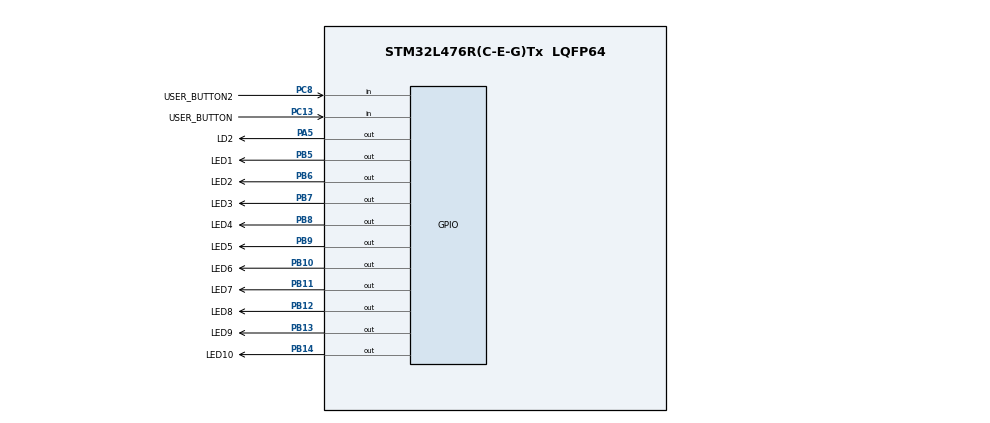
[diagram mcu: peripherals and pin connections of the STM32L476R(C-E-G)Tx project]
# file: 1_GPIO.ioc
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Mcu.Family=STM32L4
Mcu.Name=STM32L476R(C-E-G)Tx
Mcu.Package=LQFP64
NVIC.PriorityGroup=NVIC_PRIORITYGROUP_4
PA5.GPIO_Label=LD2
PA5.Signal=GPIO_Output
PB10.GPIO_Label=LED6
PB10.Signal=GPIO_Output
PB11.GPIO_Label=LED7
PB11.Signal=GPIO_Output
PB12.GPIO_Label=LED8
PB12.Signal=GPIO_Output
PB13.GPIO_Label=LED9
PB13.Signal=GPIO_Output
PB14.GPIO_Label=LED10
PB14.Signal=GPIO_Output
PB5.GPIO_Label=LED1
PB5.Signal=GPIO_Output
PB6.GPIO_Label=LED2
PB6.Signal=GPIO_Output
PB7.GPIO_Label=LED3
PB7.Signal=GPIO_Output
PB8.GPIO_Label=LED4
PB8.Signal=GPIO_Output
PB9.GPIO_Label=LED5
PB9.Signal=GPIO_Output
PC13.GPIO_Label=USER_BUTTON
PC13.Signal=GPIO_Input
PC8.GPIO_Label=USER_BUTTON2
PC8.GPIO_PuPd=GPIO_PULLUP
PC8.Signal=GPIO_Input
ProjectManager.HeapSize=0x200
ProjectManager.StackSize=0x400
ProjectManager.TargetToolchain=STM32CubeIDE
RCC.HSE_VALUE=8000000
RCC.HSI_VALUE=16000000
RCC.LSE_VALUE=32768
RCC.MSI_VALUE=4000000
RCC.VCOOutputFreq_Value=32000000
board=custom

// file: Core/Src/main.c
/* USER CODE BEGIN Header */
/**
  ******************************************************************************
  * @file           : main.c
  * @brief          : Main program body
  ******************************************************************************
  * @attention
  *
  * Copyright (c) 2024 STMicroelectronics.
  * All rights reserved.
  *
  * This software is licensed under terms that can be found in the LICENSE file
  * in the root directory of this software component.
  * If no LICENSE file comes with this software, it is provided AS-IS.
  *
  ******************************************************************************
  */
/* USER CODE END Header */
#include "main.h"

/* USER CODE BEGIN Includes */
#include <stdbool.h>
/* USER CODE END Includes */

void SystemClock_Config(void);
static void MX_GPIO_Init(void);

/* USER CODE BEGIN 0 */
/*
static GPIO_TypeDef* const LED_PORT[] = {
		LED1_GPIO_Port, LED2_GPIO_Port, LED3_GPIO_Port, LED4_GPIO_Port, LED5_GPIO_Port,
		LED6_GPIO_Port, LED7_GPIO_Port, LED8_GPIO_Port, LED9_GPIO_Port, LED10_GPIO_Port
};

static const uint16_t LED_PIN[] = {
		LED1_Pin, LED2_Pin, LED3_Pin, LED4_Pin, LED5_Pin,
		LED6_Pin, LED7_Pin, LED8_Pin, LED9_Pin, LED10_Pin
};
*/

typedef struct {
	GPIO_TypeDef* port;
	uint16_t pin;
}pin_t;

static const pin_t LED[] = {
	{ LED1_GPIO_Port, LED1_Pin },
	{ LED2_GPIO_Port, LED2_Pin },
	{ LED3_GPIO_Port, LED3_Pin },
	{ LED4_GPIO_Port, LED4_Pin },
	{ LED5_GPIO_Port, LED5_Pin },
	{ LED6_GPIO_Port, LED6_Pin },
	{ LED7_GPIO_Port, LED7_Pin },
	{ LED8_GPIO_Port, LED8_Pin },
	{ LED9_GPIO_Port, LED9_Pin },
	{ LED10_GPIO_Port, LED10_Pin },
};

void led_set(int led, bool turn_on)
{
	GPIO_PinState state;

	if (turn_on)
	{
		state = GPIO_PIN_SET;
	}
	else
	{
		state = GPIO_PIN_RESET;
	}

	if (led >= 0 && led < 10)
	{
		HAL_GPIO_WritePin(LED[led].port, LED[led].pin, state);
	}

}

bool is_button_pressed(int button)
{
	switch (button)
	{
	case 0:
		if (HAL_GPIO_ReadPin(USER_BUTTON_GPIO_Port, USER_BUTTON_Pin) == GPIO_PIN_RESET)
		{
			return true;
		}
		else
		{
			return false;
		}
		break;
	case 1:
		if (HAL_GPIO_ReadPin(USER_BUTTON2_GPIO_Port, USER_BUTTON2_Pin) == GPIO_PIN_RESET)
		{
			return true;
		}
		else
		{
			return false;
		}
		break;
	default:
		return false;
		break;
	}

}
/* USER CODE END 0 */

int main(void)
{

  /* MCU Configuration--------------------------------------------------------*/

  /* Reset of all peripherals, Initializes the Flash interface and the Systick. */
  HAL_Init();

  /* Configure the system clock */
  SystemClock_Config();

  /* Initialize all configured peripherals */
  MX_GPIO_Init();
  /* USER CODE BEGIN 2 */
  int led = 0;
  //Zapalamy pierwszą diodę
  led_set(led, true);
  /* USER CODE END 2 */

  /* Infinite loop */
  /* USER CODE BEGIN WHILE */
  while (1)
  {
	  /*
	  HAL_GPIO_TogglePin(LD2_GPIO_Port, LD2_Pin);
	  HAL_Delay(500);
	  */

	  /*if (HAL_GPIO_ReadPin(USER_BUTTON_GPIO_Port, USER_BUTTON_Pin) == GPIO_PIN_RESET)
	  {
		  HAL_GPIO_WritePin(LD2_GPIO_Port, LD2_Pin, GPIO_PIN_SET);
	  }
	  else
	  {
		  HAL_GPIO_WritePin(LD2_GPIO_Port, LD2_Pin, GPIO_PIN_RESET);
	  }*/

	  /*
	  HAL_GPIO_WritePin(LED1_GPIO_Port, LED1_Pin, GPIO_PIN_SET);
	  HAL_Delay(200);
	  HAL_GPIO_WritePin(LED1_GPIO_Port, LED1_Pin, GPIO_PIN_RESET);
	  HAL_Delay(800);
	  */

	  /*
	  for(int i = 0; i < 10; i++) {
		  HAL_GPIO_WritePin(LED1_GPIO_Port, LED1_Pin << i, GPIO_PIN_SET);
		  HAL_Delay(100);
		  HAL_GPIO_WritePin(LED1_GPIO_Port, LED1_Pin << i, GPIO_PIN_RESET);
	  }
	  */

	  /*
	  for(int i = 0; i < 10; i++)
	  {
		  led_set(i, true);
		  HAL_Delay(100);
		  led_set(i, false);
	  }
	  */

	  if (is_button_pressed(0))
	  {
		  //Gasimy diodę po wciśnięciu przycisku
		  led_set(led, false);
		  led++;
		  if (led >= 10)
		  {
			  led = 0;
		  }
		  //Zapalamy następną diodę po wciśnięciu przycisku
		  led_set(led, true);
		  //Czekamy na zwolnienie przycisku
		  while (is_button_pressed(0))
		  {

		  }
	  }

	  if (is_button_pressed(1))
	  {
		  led_set(led, false);
		  led--;
		  if (led < 0)
		  {
			  led = 9;
		  }
		  led_set(led, true);

		  //Oczekiwanie na ustanie drgań styków przy przyciśnięciu przycisku:
		  HAL_Delay(20);

		  while (is_button_pressed(1))
		  {

		  }

		  //Oczekiwanie na ustanie drga ń styków przy puszczaniu przycisku:
		  HAL_Delay(20);
	  }
    /* USER CODE END WHILE */

  }
}

void SystemClock_Config(void)
{
  RCC_OscInitTypeDef RCC_OscInitStruct = {0};
  RCC_ClkInitTypeDef RCC_ClkInitStruct = {0};

  /** Configure the main internal regulator output voltage
  */
  if (HAL_PWREx_ControlVoltageScaling(PWR_REGULATOR_VOLTAGE_SCALE1) != HAL_OK)
  {
    Error_Handler();
  }

  /** Initializes the RCC Oscillators according to the specified parameters
  * in the RCC_OscInitTypeDef structure.
  */
  RCC_OscInitStruct.OscillatorType = RCC_OSCILLATORTYPE_MSI;
  RCC_OscInitStruct.MSIState = RCC_MSI_ON;
  RCC_OscInitStruct.MSICalibrationValue = 0;
  RCC_OscInitStruct.MSIClockRange = RCC_MSIRANGE_6;
  RCC_OscInitStruct.PLL.PLLState = RCC_PLL_NONE;
  if (HAL_RCC_OscConfig(&RCC_OscInitStruct) != HAL_OK)
  {
    Error_Handler();
  }

  /** Initializes the CPU, AHB and APB buses clocks
  */
  RCC_ClkInitStruct.ClockType = RCC_CLOCKTYPE_HCLK|RCC_CLOCKTYPE_SYSCLK
                              |RCC_CLOCKTYPE_PCLK1|RCC_CLOCKTYPE_PCLK2;
  RCC_ClkInitStruct.SYSCLKSource = RCC_SYSCLKSOURCE_MSI;
  RCC_ClkInitStruct.AHBCLKDivider = RCC_SYSCLK_DIV1;
  RCC_ClkInitStruct.APB1CLKDivider = RCC_HCLK_DIV1;
  RCC_ClkInitStruct.APB2CLKDivider = RCC_HCLK_DIV1;

  if (HAL_RCC_ClockConfig(&RCC_ClkInitStruct, FLASH_LATENCY_0) != HAL_OK)
  {
    Error_Handler();
  }
}

static void MX_GPIO_Init(void)
{
  GPIO_InitTypeDef GPIO_InitStruct = {0};

  /* GPIO Ports Clock Enable */
  __HAL_RCC_GPIOC_CLK_ENABLE();
  __HAL_RCC_GPIOA_CLK_ENABLE();
  __HAL_RCC_GPIOB_CLK_ENABLE();

  /*Configure GPIO pin Output Level */
  HAL_GPIO_WritePin(LD2_GPIO_Port, LD2_Pin, GPIO_PIN_RESET);

  /*Configure GPIO pin Output Level */
  HAL_GPIO_WritePin(GPIOB, LED6_Pin|LED7_Pin|LED8_Pin|LED9_Pin
                          |LED10_Pin|LED1_Pin|LED2_Pin|LED3_Pin
                          |LED4_Pin|LED5_Pin, GPIO_PIN_RESET);

  /*Configure GPIO pin : USER_BUTTON_Pin */
  GPIO_InitStruct.Pin = USER_BUTTON_Pin;
  GPIO_InitStruct.Mode = GPIO_MODE_INPUT;
  GPIO_InitStruct.Pull = GPIO_NOPULL;
  HAL_GPIO_Init(USER_BUTTON_GPIO_Port, &GPIO_InitStruct);

  /*Configure GPIO pin : LD2_Pin */
  GPIO_InitStruct.Pin = LD2_Pin;
  GPIO_InitStruct.Mode = GPIO_MODE_OUTPUT_PP;
  GPIO_InitStruct.Pull = GPIO_NOPULL;
  GPIO_InitStruct.Speed = GPIO_SPEED_FREQ_LOW;
  HAL_GPIO_Init(LD2_GPIO_Port, &GPIO_InitStruct);

  /*Configure GPIO pins : LED6_Pin LED7_Pin LED8_Pin LED9_Pin
                           LED10_Pin LED1_Pin LED2_Pin LED3_Pin
                           LED4_Pin LED5_Pin */
  GPIO_InitStruct.Pin = LED6_Pin|LED7_Pin|LED8_Pin|LED9_Pin
                          |LED10_Pin|LED1_Pin|LED2_Pin|LED3_Pin
                          |LED4_Pin|LED5_Pin;
  GPIO_InitStruct.Mode = GPIO_MODE_OUTPUT_PP;
  GPIO_InitStruct.Pull = GPIO_NOPULL;
  GPIO_InitStruct.Speed = GPIO_SPEED_FREQ_LOW;
  HAL_GPIO_Init(GPIOB, &GPIO_InitStruct);

  /*Configure GPIO pin : USER_BUTTON2_Pin */
  GPIO_InitStruct.Pin = USER_BUTTON2_Pin;
  GPIO_InitStruct.Mode = GPIO_MODE_INPUT;
  GPIO_InitStruct.Pull = GPIO_PULLUP;
  HAL_GPIO_Init(USER_BUTTON2_GPIO_Port, &GPIO_InitStruct);

}

void Error_Handler(void)
{
  __disable_irq();
  while (1)
  {
  }
}
